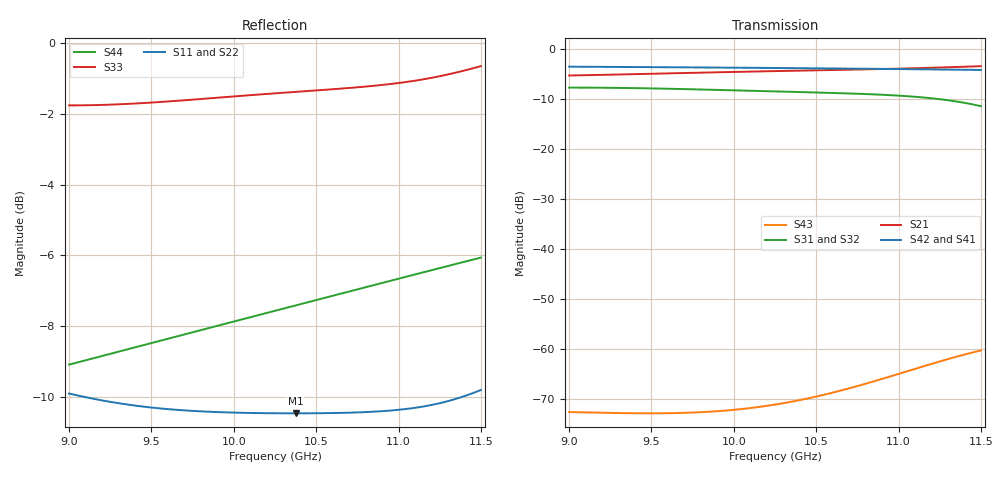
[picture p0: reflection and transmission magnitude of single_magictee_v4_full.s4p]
! Generated from PyAEDT SolutionData; AEDT ExportNetworkData workaround
# GHz S MA R 50
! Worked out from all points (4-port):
!   101 points, 9 GHz to 11.5 GHz, reference 50 ohm
!   strongest paths, dB at 9 GHz, 9.625 GHz, 10.25 GHz, 10.88 GHz, 11.5 GHz:
!     S42: -3.6, -3.7, -3.8, -4.0, -4.2
!     S41: -3.6, -3.7, -3.8, -4.0, -4.3
!     S21: -5.3, -4.9, -4.5, -4.1, -3.5
!     S31: -7.8, -8.0, -8.5, -9.2, -11.5
!     S32: -7.8, -8.0, -8.5, -9.2, -11.5
!     S43: -72.6, -72.8, -71.1, -66.2, -60.3
!   lowest |S11| = -10.4 dB at 10.38 GHz (marker M1), VSWR 1.86, Z = 88.9 - j15.8 ohm
!   |S11| at or under -10 dB: 9.105 GHz to 11.38 GHz (2.272 GHz wide, 22.2 % of centre)
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9  0.3202 137.4  0.5403 176.0  0.409 -84.0  0.6621 47.1
   0.5403 176.0  0.3208 137.5  0.409 -83.9  0.6618 -132.9
   0.409 -84.0  0.409 -83.9  0.8158 -149.7  0.0002347 -145.4
   0.6621 47.1  0.6618 -132.9  0.0002347 -145.4  0.3517 -116.4
9.55  0.3051 75.5  0.5648 114.6  0.4 -177.7  0.6542 -15.0
      0.5648 114.6  0.3056 75.6  0.3998 -177.6  0.6541 165.0
      0.4 -177.7  0.3998 -177.6  0.8247 83.6  0.0002282 97.5
      0.6542 -15.0  0.6541 165.0  0.0002282 97.5  0.3798 -174.9
9.95  0.3012 31.2  0.584 71.0  0.386 116.0  0.6475 -58.4
      0.584 71.0  0.3014 31.3  0.3857 116.0  0.6476 121.6
      0.386 116.0  0.3857 116.0  0.838 -5.7  0.000243 17.7
      0.6475 -58.4  0.6476 121.6  0.000243 17.7  0.4017 143.6
10.375  0.3003 -15.6  0.6033 25.6  0.3701 46.0  0.6395 -103.3
        0.6033 25.6  0.3001 -15.6  0.3696 46.1  0.6399 76.7
        0.3701 46.0  0.3696 46.1  0.8523 -100.0  0.0003034 -60.7
        0.6395 -103.3  0.6399 76.7  0.0003034 -60.7  0.4262 100.1
10.725  0.301 -54.0  0.6189 -11.2  0.3562 -12.7  0.6321 -139.7
        0.6189 -11.2  0.3005 -54.0  0.3555 -12.7  0.6327 40.4
        0.3562 -12.7  0.3555 -12.7  0.8641 179.5  0.0004158 -123.4
        0.6321 -139.7  0.6327 40.4  0.0004158 -123.4  0.4474 64.8
11.075  0.3051 -91.6  0.6375 -47.5  0.3336 -74.8  0.6239 -175.5
        0.6375 -47.5  0.3044 -91.7  0.3326 -74.7  0.6247 4.5
        0.3336 -74.8  0.3326 -74.7  0.8821 92.0  0.0006154 171.3
        0.6239 -175.5  0.6247 4.5  0.0006154 171.3  0.4696 29.6
11.5  0.3239 -136.9  0.6697 -91.8  0.2668 -156.9  0.6128 141.3
      0.6697 -91.8  0.3229 -137.0  0.2655 -156.8  0.6138 -38.6
      0.2668 -156.9  0.2655 -156.8  0.9265 -27.6  0.0009683 84.4
      0.6128 141.3  0.6138 -38.6  0.0009683 84.4  0.4977 -13.0
